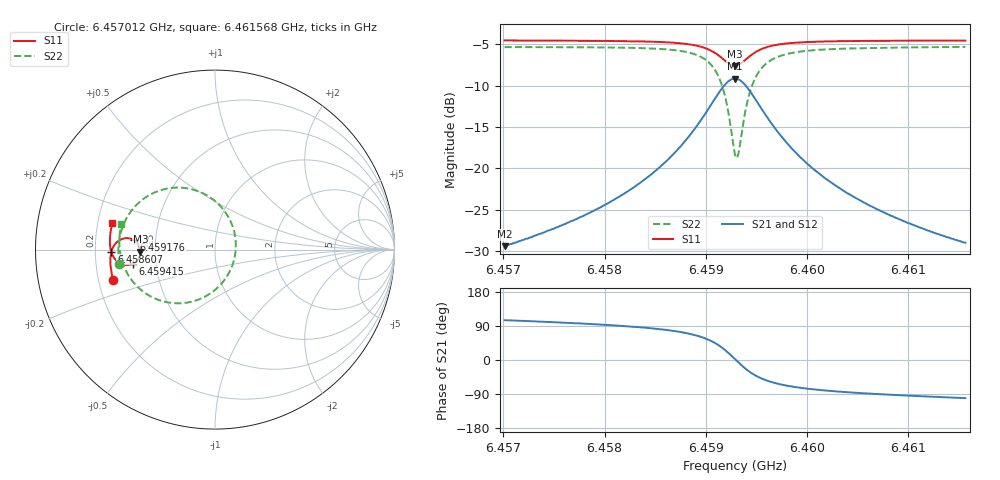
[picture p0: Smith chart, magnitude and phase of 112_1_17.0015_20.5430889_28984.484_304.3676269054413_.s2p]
#  HZ  S  RI  R  50.00
! Rohde & Schwarz Vector Network Analyzer
! Rohde-Schwarz,ZNB20-2Port,1311601062101988,3.16
! Created: UTC 3/20/2024, 10:57:04 PM
! freq[Hz]  re:S11  im:S11  re:S21  im:S21  re:S12  im:S12  re:S22  im:S22
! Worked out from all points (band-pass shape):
!   401 points, 6.457012 GHz to 6.461568 GHz, reference 50 ohm
!   highest |S21| = -9.15 dB at 6.45929 GHz (marker M1); lowest = -29.4 dB at 6.457012 GHz (marker M2)
!   |S21| within 3 dB of the highest: 6.459062 GHz to 6.459518 GHz (455.2 kHz wide, 0.00705 % of centre)
!   lowest |S11| = -7.6 dB at 6.45929 GHz (marker M3), VSWR 2.42, Z = 20.6 - j0.543 ohm
!   |S11| at or under -10 dB: nowhere
!   |S22| runs from -18.7 to -5.3 dB; largest |S21 - S12| = 0.014
!   S11 on the Smith chart (normalised r, x): 6.457012 GHz: 0.26, -0.14; 6.458607 GHz: 0.27, -0.01; 6.459176 GHz: 0.38, +0.05; 6.459415 GHz: 0.37, -0.07; 6.461568 GHz: 0.26, +0.12
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6.4570124e9  -0.5668 -0.1708  -0.00886 0.0327  -0.00706 0.0327  -0.5336 -0.0813
6.4577754e9  -0.5805 -0.1039  -0.00551 0.0508  -0.00293 0.0503  -0.5384 0.00859
6.4581968e9  -0.5834 -0.0616  0.000472 0.0706  0.00381 0.0691  -0.5298 0.0758
6.4585384e9  -0.5794 -0.0204  0.0145 0.0995  0.0185 0.0969  -0.5038 0.1536
6.4586068e9  -0.5772 -0.0109  0.0199 0.1081  0.024 0.1048  -0.4937 0.1736
6.4588004e9  -0.5643 0.0197  0.0467 0.1393  0.0509 0.1343  -0.4434 0.2429
6.4589484e9  -0.5416 0.0461  0.0926 0.1701  0.0957 0.1632  -0.3592 0.3074
6.4590851e9  -0.4971 0.0636  0.1806 0.1865  0.1816 0.1792  -0.1985 0.3454
6.4591762e9  -0.452 0.0531  0.2714 0.1547  0.2716 0.1488  -0.0308 0.2937
6.4592445e9  -0.4226 0.0205  0.3322 0.0818  0.3344 0.0766  0.0847 0.1625
6.4592901e9  -0.4157 -0.0109  0.3485 0.0131  0.3522 0.00621  0.1162 0.0343
6.4593015e9  -0.4161 -0.0192  0.3481 -0.00468  0.3522 -0.0123  0.1156 0.00045
6.4593243e9  -0.4198 -0.035  0.3423 -0.0396  0.3462 -0.0488  0.1038 -0.0658
6.4593698e9  -0.4356 -0.0613  0.3133 -0.0998  0.3156 -0.112  0.0449 -0.1793
6.4594154e9  -0.4579 -0.0779  0.2708 -0.1411  0.2699 -0.1544  -0.0411 -0.2538
6.4595065e9  -0.5018 -0.0849  0.1853 -0.1722  0.1791 -0.1838  -0.211 -0.2992
6.4596545e9  -0.546 -0.0644  0.0968 -0.158  0.0882 -0.1641  -0.3792 -0.2489
6.4598254e9  -0.5688 -0.0348  0.0495 -0.1278  0.0419 -0.1305  -0.4632 -0.1715
6.4600531e9  -0.5807 -0.00112  0.0224 -0.0978  0.0166 -0.0985  -0.5076 -0.0933
6.460372e9  -0.5853 0.0372  0.00711 -0.0723  0.0028 -0.0718  -0.5282 -0.0185
6.4608162e9  -0.5837 0.0821  -0.00149 -0.0523  -0.00423 -0.0516  -0.533 0.0537
6.4615678e9  -0.5719 0.149  -0.00646 -0.0349  -0.00815 -0.0339  -0.5218 0.1432
